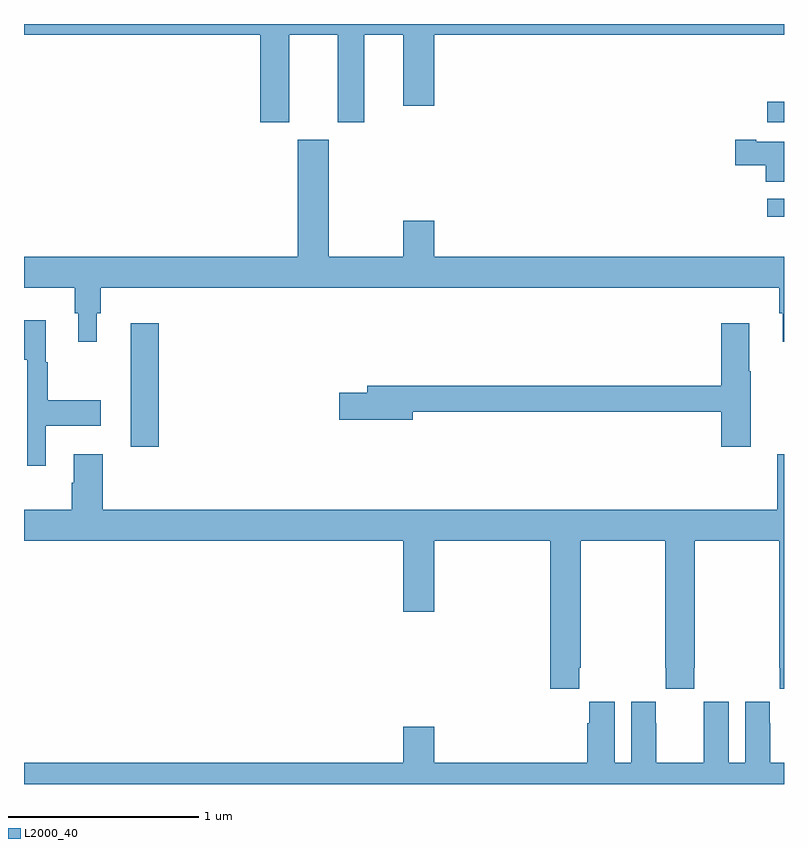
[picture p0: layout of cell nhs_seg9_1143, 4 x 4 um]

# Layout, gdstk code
import gdstk
lib = gdstk.Library(unit=1e-6, precision=1e-09)
def R(c, l, rs):  # rectangles x0, y0, x1, y1
    for r in rs: c.add(gdstk.rectangle(r[:2], r[2:], *l))
def P(c, l, *ps):  # polygons
    for p in ps: c.add(gdstk.Polygon(p, *l))
L2000_40 = (2000, 40)

nhs_seg9_1143 = lib.new_cell('nhs_seg9_1143')
R(nhs_seg9_1143, L2000_40, [(175.562,1170.276,175.709,1170.925), (178.911,1171.485,179,1171.581), (178.911,1171.983,179,1172.092)])
P(nhs_seg9_1143, L2000_40, [(176.791,1172.444),(176.996,1172.444),(176.996,1172.07),(177.16,1172.07),(177.16,1172.444),(179,1172.444),(179,1172.5),(175,1172.5),(175,1172.444),(176.243,1172.444),(176.243,1171.983),(176.395,1171.983),(176.395,1172.444),(176.651,1172.444),(176.651,1171.983),(176.791,1171.983)],
  [(179,1171.879),(178.855,1171.879),(178.855,1171.892),(178.743,1171.892),(178.743,1171.757),(178.904,1171.757),(178.904,1171.67),(179,1171.67)],
  [(175.384,1170.978),(175.403,1170.978),(175.403,1171.112),(178.975,1171.112),(178.975,1170.978),(178.994,1170.978),(178.994,1170.828),(179,1170.828),(179,1171.276),(177.16,1171.276),(177.16,1171.465),(176.996,1171.465),(176.996,1171.276),(176.605,1171.276),(176.605,1171.891),(176.441,1171.891),(176.441,1171.276),(175,1171.276),(175,1171.112),(175.267,1171.112),(175.267,1170.978),(175.286,1170.978),(175.286,1170.828),(175.384,1170.828)],
  [(175.114,1170.386),(175.405,1170.386),(175.405,1170.521),(175.126,1170.521),(175.126,1170.72),(175.114,1170.72),(175.114,1170.94),(175,1170.94),(175,1170.734),(175.017,1170.734),(175.017,1170.174),(175.114,1170.174)],
  [(178.824,1170.673),(178.816,1170.673),(178.816,1170.925),(178.67,1170.925),(178.67,1170.596),(176.807,1170.596),(176.807,1170.56),(176.658,1170.56),(176.658,1170.418),(177.046,1170.418),(177.046,1170.46),(178.67,1170.46),(178.67,1170.276),(178.824,1170.276)],
  [(177.923,1169.113),(177.93,1169.113),(177.93,1169.78),(178.375,1169.78),(178.375,1169.113),(178.377,1169.113),(178.377,1169.001),(178.527,1169.001),(178.527,1169.113),(178.53,1169.113),(178.53,1169.78),(178.975,1169.78),(178.975,1169.113),(178.977,1169.113),(178.977,1169.001),(179,1169.001),(179,1170.235),(178.964,1170.235),(178.964,1169.944),(175.415,1169.944),(175.415,1170.235),(175.262,1170.235),(175.262,1170.086),(175.25,1170.086),(175.25,1169.944),(175,1169.944),(175,1169.78),(176.996,1169.78),(176.996,1169.406),(177.16,1169.406),(177.16,1169.78),(177.77,1169.78),(177.77,1169.001),(177.923,1169.001)],
  [(179,1168.612),(178.927,1168.612),(178.927,1168.82),(178.926,1168.82),(178.926,1168.933),(178.796,1168.933),(178.796,1168.612),(178.708,1168.612),(178.708,1168.933),(178.578,1168.933),(178.578,1168.82),(178.577,1168.82),(178.577,1168.612),(178.327,1168.612),(178.327,1168.82),(178.326,1168.82),(178.326,1168.933),(178.196,1168.933),(178.196,1168.612),(178.108,1168.612),(178.108,1168.933),(177.974,1168.933),(177.974,1168.82),(177.965,1168.82),(177.965,1168.612),(177.16,1168.612),(177.16,1168.801),(176.996,1168.801),(176.996,1168.612),(175,1168.612),(175,1168.5),(179,1168.5)])

lib.write_gds('nhs_seg9_1143.gds')
